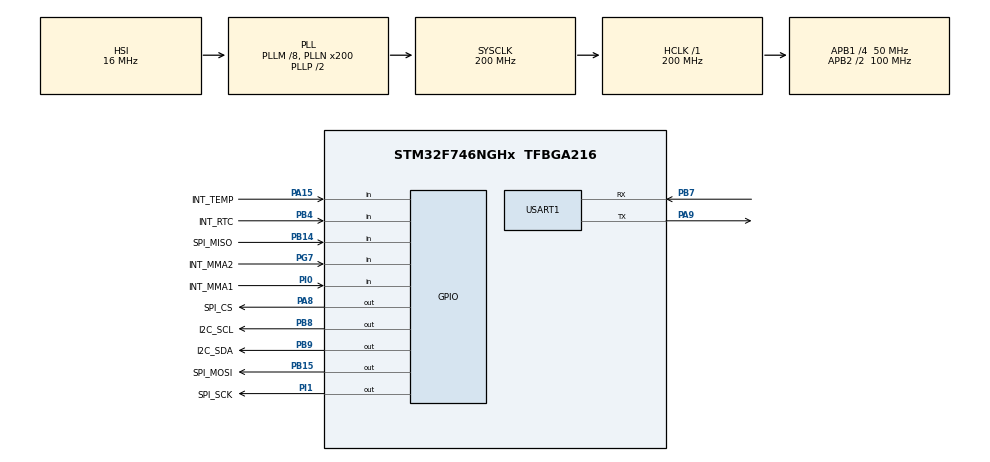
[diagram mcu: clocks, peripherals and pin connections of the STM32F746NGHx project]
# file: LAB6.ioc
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Mcu.Family=STM32F7
Mcu.Name=STM32F746NGHx
Mcu.Package=TFBGA216
NVIC.PriorityGroup=NVIC_PRIORITYGROUP_4
NVIC.TIM1_UP_TIM10_IRQn=true\:15\:0\:false\:false\:true\:false\:true
NVIC.TIM2_IRQn=true\:0\:0\:false\:false\:true\:true\:true
NVIC.TIM3_IRQn=true\:0\:0\:false\:false\:true\:true\:true
NVIC.TIM4_IRQn=true\:0\:0\:false\:false\:true\:true\:true
NVIC.TimeBase=TIM1_UP_TIM10_IRQn
NVIC.TimeBaseIP=TIM1
PA15.GPIO_Label=INT_TEMP
PA15.Signal=GPIO_Input
PA8.GPIO_Label=SPI_CS
PA8.Signal=GPIO_Output
PA9.Mode=Asynchronous
PA9.Signal=USART1_TX
PB14.GPIO_Label=SPI_MISO
PB14.Signal=GPIO_Input
PB15.GPIO_Label=SPI_MOSI
PB15.Signal=GPIO_Output
PB4.GPIO_Label=INT_RTC
PB4.Signal=GPIO_Input
PB7.Mode=Asynchronous
PB7.Signal=USART1_RX
PB8.GPIO_Label=I2C_SCL
PB8.GPIO_ModeDefaultOutputPP=GPIO_MODE_OUTPUT_OD
PB8.GPIO_PuPd=GPIO_PULLUP
PB8.Signal=GPIO_Output
PB9.GPIO_Label=I2C_SDA
PB9.GPIO_ModeDefaultOutputPP=GPIO_MODE_OUTPUT_OD
PB9.GPIO_PuPd=GPIO_PULLUP
PB9.Signal=GPIO_Output
PG7.GPIO_Label=INT_MMA2
PG7.Signal=GPIO_Input
PI0.GPIO_Label=INT_MMA1
PI0.Signal=GPIO_Input
PI1.GPIO_Label=SPI_SCK
PI1.Signal=GPIO_Output
ProjectManager.HeapSize=0x200
ProjectManager.StackSize=0x400
ProjectManager.TargetToolchain=STM32CubeIDE
RCC.AHBFreq_Value=200000000
RCC.APB1CLKDivider=RCC_HCLK_DIV4
RCC.APB1Freq_Value=50000000
RCC.APB1TimFreq_Value=100000000
RCC.APB2CLKDivider=RCC_HCLK_DIV2
RCC.APB2Freq_Value=100000000
RCC.APB2TimFreq_Value=200000000
RCC.CortexFreq_Value=200000000
RCC.HCLKFreq_Value=200000000
RCC.HSE_VALUE=25000000
RCC.HSI_VALUE=16000000
RCC.LSE_VALUE=32768
RCC.PLLM=8
RCC.PLLN=200
RCC.SYSCLKFreq_VALUE=200000000
RCC.SYSCLKSource=RCC_SYSCLKSOURCE_PLLCLK
RCC.USBFreq_Value=200000000
RCC.VCOOutputFreq_Value=400000000
TIM2.AutoReloadPreload=TIM_AUTORELOAD_PRELOAD_DISABLE
TIM2.CounterMode=TIM_COUNTERMODE_DOWN
TIM2.Period=9999
TIM2.Prescaler=10000
TIM3.CounterMode=TIM_COUNTERMODE_DOWN
TIM3.Period=150
TIM3.Prescaler=1000
TIM4.CounterMode=TIM_COUNTERMODE_DOWN
TIM4.Period=350
TIM4.Prescaler=1000
USART1.VirtualMode-Asynchronous=VM_ASYNC
VP_SYS_VS_tim1.Mode=TIM1
VP_TIM2_VS_ClockSourceINT.Mode=Internal
VP_TIM3_VS_ClockSourceINT.Mode=Internal
VP_TIM4_VS_ClockSourceINT.Mode=Internal
board=STM32F746G-DISCO

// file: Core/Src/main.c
/* USER CODE BEGIN Header */
/**
 ******************************************************************************
 * @file           : main.c
 * @brief          : Main program body
 ******************************************************************************
 * @attention
 *
 * <h2><center>&copy; Copyright (c) 2023 STMicroelectronics.
 * All rights reserved.</center></h2>
 *
 * This software component is licensed by ST under BSD 3-Clause license,
 * the "License"; You may not use this file except in compliance with the
 * License. You may obtain a copy of the License at:
 *                        opensource.org/licenses/BSD-3-Clause
 *
 ******************************************************************************
 */
/* USER CODE END Header */
#include "main.h"

TIM_HandleTypeDef htim2;
TIM_HandleTypeDef htim3;
TIM_HandleTypeDef htim4;

UART_HandleTypeDef huart1;

void SystemClock_Config(void);
static void MX_GPIO_Init(void);
static void MX_USART1_UART_Init(void);
static void MX_TIM2_Init(void);
static void MX_TIM3_Init(void);
static void MX_TIM4_Init(void);

/* USER CODE BEGIN 0 */

unsigned short CRC16 (unsigned char *, uint8_t); /* The function returns the CRC as a unsigned short type */
uint16_t fliperoo(uint16_t);

#include <stdio.h>

//-------------------------------------------------------------							write
#include <errno.h>
#include <sys/stat.h>
#include <sys/times.h>
#include <sys/unistd.h>
int _write(int file, char *ptr, int len) {
	HAL_StatusTypeDef xStatus;
	switch (file) {
	case STDOUT_FILENO: /*stdout*/
		xStatus = HAL_UART_Transmit(&huart1, (uint8_t*)ptr, len, HAL_MAX_DELAY);
		if (xStatus != HAL_OK) {
			errno = EIO;
			return -1;
		}
		break;
	case STDERR_FILENO: /* stderr */
		xStatus = HAL_UART_Transmit(&huart1, (uint8_t*)ptr, len, HAL_MAX_DELAY);
		if (xStatus != HAL_OK) {
			errno = EIO;
			return -1;
		}
		break;
	default:
		errno = EBADF;
		return -1;
	}
	return len;
}

//02 04 00 00 00 0A geeft als CRC 70 3E  (70 is de Low Byte)
//uint8_t message[6] = {0x02, 0x04, 0x00, 0x00, 0x00, 0x0A};
uint8_t message[6] = {0x00, 0x00, 0x00, 0x00, 0x00, 0x00};
uint16_t crcRegister = 0x0000;
uint8_t uartReceived = 0x00;
uint8_t place = 0;

unsigned char *puchMsg = message; 	/* message to calculate CRC upon */
unsigned short usDataLen = 6; 		/* quantity of bytes in message */

//----------------------------------------------------------------------				FSM
#include <stdio.h>
#include <stdint.h>
#include <stdbool.h>
#include <string.h>

//Volgende enum bevat alle states
typedef enum {
	INITIAL_STATE = 0,
	IDLE_STATE,
	EMISSION_STATE,
	RECEPTION_STATE,
	CONTROL_AND_WAIT_STATE,
	EXIT //niet nodig enkel voor PC software
}fsm_states_t;

//Deze globale variabele houd de status bij van het fsm
fsm_states_t fsm_current_state = INITIAL_STATE;

// Hieronder komen de state handlers. Elke functie neemt 1 state voor zijn rekening.
void initial_state(void *arg)
{
	//printf(" Entered initial_state\r\n");
	//printf("   Geef een karakter in: ");
	//fflush(stdout);
	//scanf("%c%*c",&c);
	//if(c == 'w'){
	// Als de gebruiker het juiste karakter ingeeft (w) gaan we naar de volgende state
	//printf("   u gaf het juiste karakter in\r\n");
	fsm_current_state = IDLE_STATE;
	//}else{
	// Anders blijven we in deze state
	//printf("   Sorry dat was niet het juiste karakter\r\n");
	//}
}

void idle_state(void *arg)
{
	printf(" Entered idle_state\r\n");
	uint8_t recbit = __HAL_UART_GET_FLAG(&huart1, UART_FLAG_RXNE);
	if(recbit){
		//start timer 1,5
		HAL_TIM_Base_Start_IT(&htim3);
		//start timer 3,5
		HAL_TIM_Base_Start_IT(&htim4);
		//change state
		fsm_current_state = RECEPTION_STATE;
	}
	//fsm_current_state = RECEPTION_STATE;
}

void reception_state(void *arg)
{
	static uint8_t byteCounter = 0;

	printf(" Entered reception_state\r\n");

	//received bit set
	uint8_t recbit = __HAL_UART_GET_FLAG(&huart1, UART_FLAG_RXNE);
	//received bytes
	uartReceived = huart1.Instance->RDR;

	if(recbit){
		message[byteCounter] = uartReceived;
		HAL_TIM_Base_Start_IT(&htim3);
		HAL_TIM_Base_Start_IT(&htim4);

		if(byteCounter == 6){
			byteCounter = 0;
		}
		else{
			byteCounter++;
		}
	}
}

void control_and_wait_state(void *arg)
{
	printf(" Entered control_and_wait_state\r\n");
	uint16_t recCRC = 0x0000;

	recCRC = message[4];
	recCRC = (recCRC << 8);

	crcRegister = CRC16(message, (6*sizeof(uint8_t)));

	//crcRegister = fliperoo(crcRegister);
	printf("data = ");
	for(int i = 0; i < 6;i++){
		printf(" %x ", message[i]);
	}
	printf("\n\r");
	printf("message CRC %x %x \n\r", message[4], message[5]);
	printf("CRC = %x \n\r", crcRegister);

	HAL_Delay(5000);
	//fsm_current_state = EMISSION_STATE;
}

void emission_state(void *arg)
{
	printf(" Entered emission_state\r\n");
	fsm_current_state = EXIT;
}

//Hier maken we een array van al onze state handlers.
typedef void (*fsm_handler_t) (void * arg);
fsm_handler_t call_handler[6] = {initial_state, idle_state, emission_state, reception_state, control_and_wait_state};

/* USER CODE END 0 */

int main(void)
{

	/* MCU Configuration--------------------------------------------------------*/

	/* Reset of all peripherals, Initializes the Flash interface and the Systick. */
	HAL_Init();

	/* Configure the system clock */
	SystemClock_Config();

	/* Initialize all configured peripherals */
	MX_GPIO_Init();
	MX_USART1_UART_Init();
	MX_TIM2_Init();
	MX_TIM3_Init();
	MX_TIM4_Init();

	/* Infinite loop */
	while (1)
	{

		/* USER CODE BEGIN 3 */
		//HAL_UART_Transmit(&huart1, "BAM\r\n", strlen("BAM\r\n"), HAL_MAX_DELAY);

		while(fsm_current_state !=  EXIT){
			call_handler[fsm_current_state](NULL);
		}

		printf("\n*** Oops de FSM is gestopt ***\n");
		HAL_Delay(1000);
		return 0;

		//------------------------------------ CRC code

		//received bit set
		uint8_t rec = __HAL_UART_GET_FLAG(&huart1, UART_FLAG_RXNE);
		//received bytes
		uartReceived = huart1.Instance->RDR;

		if(rec){
			message[place] = uartReceived;

			/* The function returns the CRC as a unsigned short type */
			crcRegister = CRC16(puchMsg, usDataLen);

			crcRegister = fliperoo(crcRegister);

			if(place > 6){
				place = 0;
			}
			else{
				place++;
			}

			printf("received ! char = %c ~ CRC = %x \r\n", uartReceived, crcRegister);

			HAL_TIM_Base_Start_IT(&htim2);
		}

	}
	/* USER CODE END 3 */
}

void SystemClock_Config(void)
{
	RCC_OscInitTypeDef RCC_OscInitStruct = {0};
	RCC_ClkInitTypeDef RCC_ClkInitStruct = {0};
	RCC_PeriphCLKInitTypeDef PeriphClkInitStruct = {0};

	/** Configure the main internal regulator output voltage
	 */
	__HAL_RCC_PWR_CLK_ENABLE();
	__HAL_PWR_VOLTAGESCALING_CONFIG(PWR_REGULATOR_VOLTAGE_SCALE1);
	/** Initializes the RCC Oscillators according to the specified parameters
	 * in the RCC_OscInitTypeDef structure.
	 */
	RCC_OscInitStruct.OscillatorType = RCC_OSCILLATORTYPE_HSI;
	RCC_OscInitStruct.HSIState = RCC_HSI_ON;
	RCC_OscInitStruct.HSICalibrationValue = RCC_HSICALIBRATION_DEFAULT;
	RCC_OscInitStruct.PLL.PLLState = RCC_PLL_ON;
	RCC_OscInitStruct.PLL.PLLSource = RCC_PLLSOURCE_HSI;
	RCC_OscInitStruct.PLL.PLLM = 8;
	RCC_OscInitStruct.PLL.PLLN = 200;
	RCC_OscInitStruct.PLL.PLLP = RCC_PLLP_DIV2;
	RCC_OscInitStruct.PLL.PLLQ = 2;
	if (HAL_RCC_OscConfig(&RCC_OscInitStruct) != HAL_OK)
	{
		Error_Handler();
	}
	/** Activate the Over-Drive mode
	 */
	if (HAL_PWREx_EnableOverDrive() != HAL_OK)
	{
		Error_Handler();
	}
	/** Initializes the CPU, AHB and APB buses clocks
	 */
	RCC_ClkInitStruct.ClockType = RCC_CLOCKTYPE_HCLK|RCC_CLOCKTYPE_SYSCLK
			|RCC_CLOCKTYPE_PCLK1|RCC_CLOCKTYPE_PCLK2;
	RCC_ClkInitStruct.SYSCLKSource = RCC_SYSCLKSOURCE_PLLCLK;
	RCC_ClkInitStruct.AHBCLKDivider = RCC_SYSCLK_DIV1;
	RCC_ClkInitStruct.APB1CLKDivider = RCC_HCLK_DIV4;
	RCC_ClkInitStruct.APB2CLKDivider = RCC_HCLK_DIV2;

	if (HAL_RCC_ClockConfig(&RCC_ClkInitStruct, FLASH_LATENCY_6) != HAL_OK)
	{
		Error_Handler();
	}
	PeriphClkInitStruct.PeriphClockSelection = RCC_PERIPHCLK_USART1;
	PeriphClkInitStruct.Usart1ClockSelection = RCC_USART1CLKSOURCE_PCLK2;
	if (HAL_RCCEx_PeriphCLKConfig(&PeriphClkInitStruct) != HAL_OK)
	{
		Error_Handler();
	}
}

static void MX_TIM2_Init(void)
{

	TIM_ClockConfigTypeDef sClockSourceConfig = {0};
	TIM_MasterConfigTypeDef sMasterConfig = {0};

	htim2.Instance = TIM2;
	htim2.Init.Prescaler = 10000;
	htim2.Init.CounterMode = TIM_COUNTERMODE_DOWN;
	htim2.Init.Period = 9999;
	htim2.Init.ClockDivision = TIM_CLOCKDIVISION_DIV1;
	htim2.Init.AutoReloadPreload = TIM_AUTORELOAD_PRELOAD_DISABLE;
	if (HAL_TIM_Base_Init(&htim2) != HAL_OK)
	{
		Error_Handler();
	}
	sClockSourceConfig.ClockSource = TIM_CLOCKSOURCE_INTERNAL;
	if (HAL_TIM_ConfigClockSource(&htim2, &sClockSourceConfig) != HAL_OK)
	{
		Error_Handler();
	}
	sMasterConfig.MasterOutputTrigger = TIM_TRGO_RESET;
	sMasterConfig.MasterSlaveMode = TIM_MASTERSLAVEMODE_DISABLE;
	if (HAL_TIMEx_MasterConfigSynchronization(&htim2, &sMasterConfig) != HAL_OK)
	{
		Error_Handler();
	}

}

static void MX_TIM3_Init(void)
{

	TIM_ClockConfigTypeDef sClockSourceConfig = {0};
	TIM_MasterConfigTypeDef sMasterConfig = {0};

	htim3.Instance = TIM3;
	htim3.Init.Prescaler = 1000;
	htim3.Init.CounterMode = TIM_COUNTERMODE_DOWN;
	htim3.Init.Period = 150;
	htim3.Init.ClockDivision = TIM_CLOCKDIVISION_DIV1;
	htim3.Init.AutoReloadPreload = TIM_AUTORELOAD_PRELOAD_DISABLE;
	if (HAL_TIM_Base_Init(&htim3) != HAL_OK)
	{
		Error_Handler();
	}
	sClockSourceConfig.ClockSource = TIM_CLOCKSOURCE_INTERNAL;
	if (HAL_TIM_ConfigClockSource(&htim3, &sClockSourceConfig) != HAL_OK)
	{
		Error_Handler();
	}
	sMasterConfig.MasterOutputTrigger = TIM_TRGO_RESET;
	sMasterConfig.MasterSlaveMode = TIM_MASTERSLAVEMODE_DISABLE;
	if (HAL_TIMEx_MasterConfigSynchronization(&htim3, &sMasterConfig) != HAL_OK)
	{
		Error_Handler();
	}

}

static void MX_TIM4_Init(void)
{

	TIM_ClockConfigTypeDef sClockSourceConfig = {0};
	TIM_MasterConfigTypeDef sMasterConfig = {0};

	htim4.Instance = TIM4;
	htim4.Init.Prescaler = 1000;
	htim4.Init.CounterMode = TIM_COUNTERMODE_DOWN;
	htim4.Init.Period = 350;
	htim4.Init.ClockDivision = TIM_CLOCKDIVISION_DIV1;
	htim4.Init.AutoReloadPreload = TIM_AUTORELOAD_PRELOAD_DISABLE;
	if (HAL_TIM_Base_Init(&htim4) != HAL_OK)
	{
		Error_Handler();
	}
	sClockSourceConfig.ClockSource = TIM_CLOCKSOURCE_INTERNAL;
	if (HAL_TIM_ConfigClockSource(&htim4, &sClockSourceConfig) != HAL_OK)
	{
		Error_Handler();
	}
	sMasterConfig.MasterOutputTrigger = TIM_TRGO_RESET;
	sMasterConfig.MasterSlaveMode = TIM_MASTERSLAVEMODE_DISABLE;
	if (HAL_TIMEx_MasterConfigSynchronization(&htim4, &sMasterConfig) != HAL_OK)
	{
		Error_Handler();
	}

}

static void MX_USART1_UART_Init(void)
{

	huart1.Instance = USART1;
	huart1.Init.BaudRate = 115200;
	huart1.Init.WordLength = UART_WORDLENGTH_8B;
	huart1.Init.StopBits = UART_STOPBITS_1;
	huart1.Init.Parity = UART_PARITY_NONE;
	huart1.Init.Mode = UART_MODE_TX_RX;
	huart1.Init.HwFlowCtl = UART_HWCONTROL_NONE;
	huart1.Init.OverSampling = UART_OVERSAMPLING_16;
	huart1.Init.OneBitSampling = UART_ONE_BIT_SAMPLE_DISABLE;
	huart1.AdvancedInit.AdvFeatureInit = UART_ADVFEATURE_NO_INIT;
	if (HAL_UART_Init(&huart1) != HAL_OK)
	{
		Error_Handler();
	}

}

static void MX_GPIO_Init(void)
{
	GPIO_InitTypeDef GPIO_InitStruct = {0};

	/* GPIO Ports Clock Enable */
	__HAL_RCC_GPIOB_CLK_ENABLE();
	__HAL_RCC_GPIOA_CLK_ENABLE();
	__HAL_RCC_GPIOI_CLK_ENABLE();
	__HAL_RCC_GPIOG_CLK_ENABLE();

	/*Configure GPIO pin Output Level */
	HAL_GPIO_WritePin(GPIOB, I2C_SCL_Pin|I2C_SDA_Pin|SPI_MOSI_Pin, GPIO_PIN_RESET);

	/*Configure GPIO pin Output Level */
	HAL_GPIO_WritePin(SPI_SCK_GPIO_Port, SPI_SCK_Pin, GPIO_PIN_RESET);

	/*Configure GPIO pin Output Level */
	HAL_GPIO_WritePin(SPI_CS_GPIO_Port, SPI_CS_Pin, GPIO_PIN_RESET);

	/*Configure GPIO pins : I2C_SCL_Pin I2C_SDA_Pin */
	GPIO_InitStruct.Pin = I2C_SCL_Pin|I2C_SDA_Pin;
	GPIO_InitStruct.Mode = GPIO_MODE_OUTPUT_OD;
	GPIO_InitStruct.Pull = GPIO_PULLUP;
	GPIO_InitStruct.Speed = GPIO_SPEED_FREQ_LOW;
	HAL_GPIO_Init(GPIOB, &GPIO_InitStruct);

	/*Configure GPIO pins : INT_RTC_Pin SPI_MISO_Pin */
	GPIO_InitStruct.Pin = INT_RTC_Pin|SPI_MISO_Pin;
	GPIO_InitStruct.Mode = GPIO_MODE_INPUT;
	GPIO_InitStruct.Pull = GPIO_NOPULL;
	HAL_GPIO_Init(GPIOB, &GPIO_InitStruct);

	/*Configure GPIO pin : INT_TEMP_Pin */
	GPIO_InitStruct.Pin = INT_TEMP_Pin;
	GPIO_InitStruct.Mode = GPIO_MODE_INPUT;
	GPIO_InitStruct.Pull = GPIO_NOPULL;
	HAL_GPIO_Init(INT_TEMP_GPIO_Port, &GPIO_InitStruct);

	/*Configure GPIO pin : SPI_SCK_Pin */
	GPIO_InitStruct.Pin = SPI_SCK_Pin;
	GPIO_InitStruct.Mode = GPIO_MODE_OUTPUT_PP;
	GPIO_InitStruct.Pull = GPIO_NOPULL;
	GPIO_InitStruct.Speed = GPIO_SPEED_FREQ_LOW;
	HAL_GPIO_Init(SPI_SCK_GPIO_Port, &GPIO_InitStruct);

	/*Configure GPIO pin : INT_MMA1_Pin */
	GPIO_InitStruct.Pin = INT_MMA1_Pin;
	GPIO_InitStruct.Mode = GPIO_MODE_INPUT;
	GPIO_InitStruct.Pull = GPIO_NOPULL;
	HAL_GPIO_Init(INT_MMA1_GPIO_Port, &GPIO_InitStruct);

	/*Configure GPIO pin : SPI_CS_Pin */
	GPIO_InitStruct.Pin = SPI_CS_Pin;
	GPIO_InitStruct.Mode = GPIO_MODE_OUTPUT_PP;
	GPIO_InitStruct.Pull = GPIO_NOPULL;
	GPIO_InitStruct.Speed = GPIO_SPEED_FREQ_LOW;
	HAL_GPIO_Init(SPI_CS_GPIO_Port, &GPIO_InitStruct);

	/*Configure GPIO pin : INT_MMA2_Pin */
	GPIO_InitStruct.Pin = INT_MMA2_Pin;
	GPIO_InitStruct.Mode = GPIO_MODE_INPUT;
	GPIO_InitStruct.Pull = GPIO_NOPULL;
	HAL_GPIO_Init(INT_MMA2_GPIO_Port, &GPIO_InitStruct);

	/*Configure GPIO pin : SPI_MOSI_Pin */
	GPIO_InitStruct.Pin = SPI_MOSI_Pin;
	GPIO_InitStruct.Mode = GPIO_MODE_OUTPUT_PP;
	GPIO_InitStruct.Pull = GPIO_NOPULL;
	GPIO_InitStruct.Speed = GPIO_SPEED_FREQ_LOW;
	HAL_GPIO_Init(SPI_MOSI_GPIO_Port, &GPIO_InitStruct);

}

/* USER CODE BEGIN 4 */

/* Table of CRC values for high–order byte */
static unsigned char auchCRCHi[] = {
		0x00, 0xC1, 0x81, 0x40, 0x01, 0xC0, 0x80, 0x41, 0x01, 0xC0, 0x80, 0x41, 0x00, 0xC1, 0x81,
		0x40, 0x01, 0xC0, 0x80, 0x41, 0x00, 0xC1, 0x81, 0x40, 0x00, 0xC1, 0x81, 0x40, 0x01, 0xC0,
		0x80, 0x41, 0x01, 0xC0, 0x80, 0x41, 0x00, 0xC1, 0x81, 0x40, 0x00, 0xC1, 0x81, 0x40, 0x01,
		0xC0, 0x80, 0x41, 0x00, 0xC1, 0x81, 0x40, 0x01, 0xC0, 0x80, 0x41, 0x01, 0xC0, 0x80, 0x41,
		0x00, 0xC1, 0x81, 0x40, 0x01, 0xC0, 0x80, 0x41, 0x00, 0xC1, 0x81, 0x40, 0x00, 0xC1, 0x81,
		0x40, 0x01, 0xC0, 0x80, 0x41, 0x00, 0xC1, 0x81, 0x40, 0x01, 0xC0, 0x80, 0x41, 0x01, 0xC0,
		0x80, 0x41, 0x00, 0xC1, 0x81, 0x40, 0x00, 0xC1, 0x81, 0x40, 0x01, 0xC0, 0x80, 0x41, 0x01,
		0xC0, 0x80, 0x41, 0x00, 0xC1, 0x81, 0x40, 0x01, 0xC0, 0x80, 0x41, 0x00, 0xC1, 0x81, 0x40,
		0x00, 0xC1, 0x81, 0x40, 0x01, 0xC0, 0x80, 0x41, 0x01, 0xC0, 0x80, 0x41, 0x00, 0xC1, 0x81,
		0x40, 0x00, 0xC1, 0x81, 0x40, 0x01, 0xC0, 0x80, 0x41, 0x00, 0xC1, 0x81, 0x40, 0x01, 0xC0,
		0x80, 0x41, 0x01, 0xC0, 0x80, 0x41, 0x00, 0xC1, 0x81, 0x40, 0x00, 0xC1, 0x81, 0x40, 0x01,
		0xC0, 0x80, 0x41, 0x01, 0xC0, 0x80, 0x41, 0x00, 0xC1, 0x81, 0x40, 0x01, 0xC0, 0x80, 0x41,
		0x00, 0xC1, 0x81, 0x40, 0x00, 0xC1, 0x81, 0x40, 0x01, 0xC0, 0x80, 0x41, 0x00, 0xC1, 0x81,
		0x40, 0x01, 0xC0, 0x80, 0x41, 0x01, 0xC0, 0x80, 0x41, 0x00, 0xC1, 0x81, 0x40, 0x01, 0xC0,
		0x80, 0x41, 0x00, 0xC1, 0x81, 0x40, 0x00, 0xC1, 0x81, 0x40, 0x01, 0xC0, 0x80, 0x41, 0x01,
		0xC0, 0x80, 0x41, 0x00, 0xC1, 0x81, 0x40, 0x00, 0xC1, 0x81, 0x40, 0x01, 0xC0, 0x80, 0x41,
		0x00, 0xC1, 0x81, 0x40, 0x01, 0xC0, 0x80, 0x41, 0x01, 0xC0, 0x80, 0x41, 0x00, 0xC1, 0x81,
		0x40
} ;

/* Table of CRC values for low–order byte */
static char auchCRCLo[] = {
		0x00, 0xC0, 0xC1, 0x01, 0xC3, 0x03, 0x02, 0xC2, 0xC6, 0x06, 0x07, 0xC7, 0x05, 0xC5, 0xC4,
		0x04, 0xCC, 0x0C, 0x0D, 0xCD, 0x0F, 0xCF, 0xCE, 0x0E, 0x0A, 0xCA, 0xCB, 0x0B, 0xC9, 0x09,
		0x08, 0xC8, 0xD8, 0x18, 0x19, 0xD9, 0x1B, 0xDB, 0xDA, 0x1A, 0x1E, 0xDE, 0xDF, 0x1F, 0xDD,
		0x1D, 0x1C, 0xDC, 0x14, 0xD4, 0xD5, 0x15, 0xD7, 0x17, 0x16, 0xD6, 0xD2, 0x12, 0x13, 0xD3,
		0x11, 0xD1, 0xD0, 0x10, 0xF0, 0x30, 0x31, 0xF1, 0x33, 0xF3, 0xF2, 0x32, 0x36, 0xF6, 0xF7,
		0x37, 0xF5, 0x35, 0x34, 0xF4, 0x3C, 0xFC, 0xFD, 0x3D, 0xFF, 0x3F, 0x3E, 0xFE, 0xFA, 0x3A,
		0x3B, 0xFB, 0x39, 0xF9, 0xF8, 0x38, 0x28, 0xE8, 0xE9, 0x29, 0xEB, 0x2B, 0x2A, 0xEA, 0xEE,
		0x2E, 0x2F, 0xEF, 0x2D, 0xED, 0xEC, 0x2C, 0xE4, 0x24, 0x25, 0xE5, 0x27, 0xE7, 0xE6, 0x26,
		0x22, 0xE2, 0xE3, 0x23, 0xE1, 0x21, 0x20, 0xE0, 0xA0, 0x60, 0x61, 0xA1, 0x63, 0xA3, 0xA2,
		0x62, 0x66, 0xA6, 0xA7, 0x67, 0xA5, 0x65, 0x64, 0xA4, 0x6C, 0xAC, 0xAD, 0x6D, 0xAF, 0x6F,
		0x6E, 0xAE, 0xAA, 0x6A, 0x6B, 0xAB, 0x69, 0xA9, 0xA8, 0x68, 0x78, 0xB8, 0xB9, 0x79, 0xBB,
		0x7B, 0x7A, 0xBA, 0xBE, 0x7E, 0x7F, 0xBF, 0x7D, 0xBD, 0xBC, 0x7C, 0xB4, 0x74, 0x75, 0xB5,
		0x77, 0xB7, 0xB6, 0x76, 0x72, 0xB2, 0xB3, 0x73, 0xB1, 0x71, 0x70, 0xB0, 0x50, 0x90, 0x91,
		0x51, 0x93, 0x53, 0x52, 0x92, 0x96, 0x56, 0x57, 0x97, 0x55, 0x95, 0x94, 0x54, 0x9C, 0x5C,
		0x5D, 0x9D, 0x5F, 0x9F, 0x9E, 0x5E, 0x5A, 0x9A, 0x9B, 0x5B, 0x99, 0x59, 0x58, 0x98, 0x88,
		0x48, 0x49, 0x89, 0x4B, 0x8B, 0x8A, 0x4A, 0x4E, 0x8E, 0x8F, 0x4F, 0x8D, 0x4D, 0x4C, 0x8C,
		0x44, 0x84, 0x85, 0x45, 0x87, 0x47, 0x46, 0x86, 0x82, 0x42, 0x43, 0x83, 0x41, 0x81, 0x80,
		0x40
};

unsigned short CRC16 (unsigned char * puchMsg, uint8_t usDataLen) /* The function returns the CRC as a unsigned short type */
{
	char uchCRCHi = 0xFF; /* high byte of CRC initialized */
	char uchCRCLo = 0xFF; /* low byte of CRC initialized */
	uint8_t uIndex; /* will index into CRC lookup table */

	while (usDataLen--) /* pass through message buffer */
	{
		uIndex = uchCRCLo ^ *puchMsg++; /* calculate the CRC */
		uchCRCLo = uchCRCHi ^ auchCRCHi[uIndex];
		uchCRCHi = auchCRCLo[uIndex];
	}
	return (uchCRCHi << 8 | uchCRCLo) ;
}

uint16_t fliperoo(uint16_t input){
	uint16_t MSB = (input & 0xFF00);
	uint16_t LSB = (input & 0x00FF);
	uint16_t output = 0x0000;

	output = (MSB >> 8);
	output |= (LSB << 8);

	return output;
}

/* USER CODE END 4 */

void HAL_TIM_PeriodElapsedCallback(TIM_HandleTypeDef *htim)
{
	if (htim->Instance == TIM1) {
		HAL_IncTick();
	}
	/* USER CODE BEGIN Callback 1 */
	if (htim->Instance == TIM2) {
		//printf("after 500ms CRC = %x\r\n", crcRegister);
		HAL_TIM_Base_Stop_IT(&htim2);
	}
	if (htim->Instance == TIM3) {
		fsm_current_state = CONTROL_AND_WAIT_STATE;
		printf("\r\n 1.5 \r\n");
		HAL_TIM_Base_Stop_IT(&htim3);
	}
	if (htim->Instance == TIM5) {
		fsm_current_state = IDLE_STATE;
		printf("\r\n 3.5 \r\n");
		HAL_TIM_Base_Stop_IT(&htim4);
	}

	/* USER CODE END Callback 1 */
}

void Error_Handler(void)
{
	__disable_irq();
	while (1)
	{
	}
}

/************************ (C) COPYRIGHT STMicroelectronics *****END OF FILE****/
